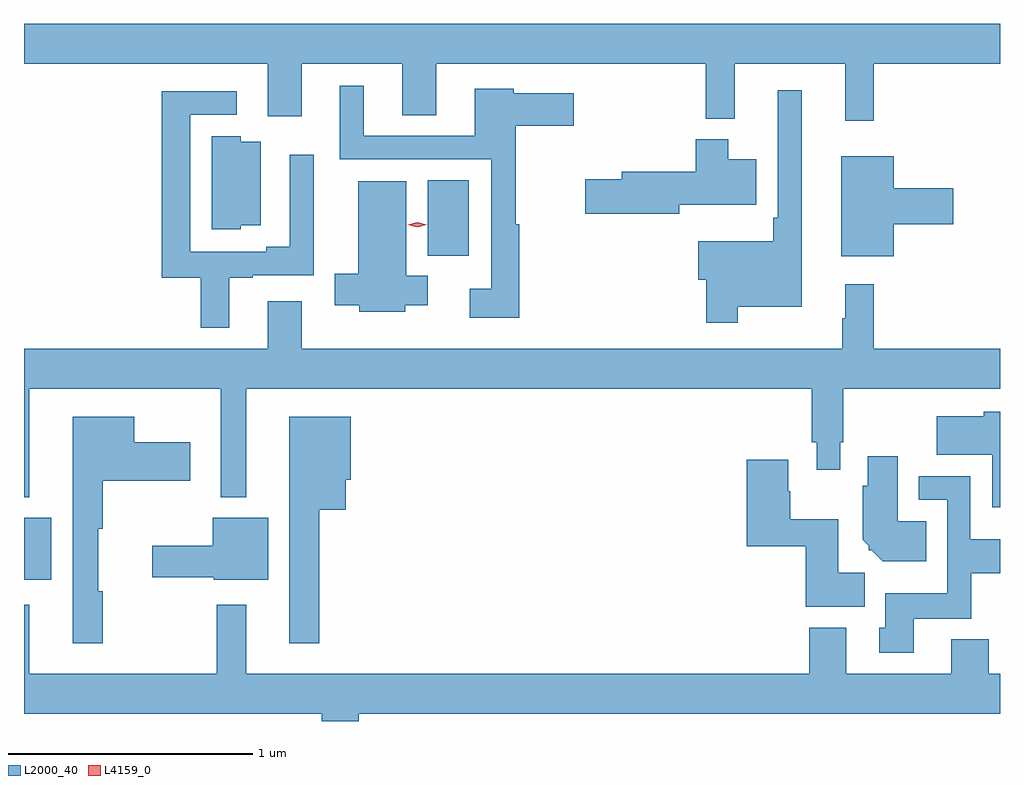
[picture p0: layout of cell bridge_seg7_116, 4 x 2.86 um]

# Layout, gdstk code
import gdstk
lib = gdstk.Library(unit=1e-6, precision=1e-09)
def R(c, l, rs):  # rectangles x0, y0, x1, y1
    for r in rs: c.add(gdstk.rectangle(r[:2], r[2:], *l))
def P(c, l, *ps):  # polygons
    for p in ps: c.add(gdstk.Polygon(p, *l))
L2000_40 = (2000, 40)
L4159_0 = (4159, 0)

bridge_seg7_116 = lib.new_cell('bridge_seg7_116')
R(bridge_seg7_116, L2000_40, [(875.877,1001.165,875.989,1001.419), (877.532,1002.493,877.699,1002.803)])
P(bridge_seg7_116, L2000_40, [(879.359,1003.28),(879.877,1003.28),(879.877,1003.444),(875.877,1003.444),(875.877,1003.28),(876.875,1003.28),(876.875,1003.065),(877.015,1003.065),(877.015,1003.28),(877.427,1003.28),(877.427,1003.069),(877.567,1003.069),(877.567,1003.28),(878.671,1003.28),(878.671,1003.055),(878.789,1003.055),(878.789,1003.28),(879.242,1003.28),(879.242,1003.047),(879.359,1003.047)],
  [(877.907,1002.623),(877.892,1002.623),(877.892,1003.025),(878.131,1003.025),(878.131,1003.159),(877.884,1003.159),(877.884,1003.177),(877.724,1003.177),(877.724,1002.984),(877.27,1002.984),(877.27,1003.189),(877.172,1003.189),(877.172,1002.888),(877.791,1002.888),(877.791,1002.358),(877.704,1002.358),(877.704,1002.239),(877.907,1002.239)],
  [(878.803,1002.284),(879.064,1002.284),(879.064,1003.171),(878.967,1003.171),(878.967,1002.649),(878.947,1002.649),(878.947,1002.553),(878.64,1002.553),(878.64,1002.395),(878.674,1002.395),(878.674,1002.219),(878.803,1002.219)],
  [(876.718,1002.402),(876.814,1002.402),(876.814,1002.414),(877.064,1002.414),(877.064,1002.907),(876.966,1002.907),(876.966,1002.53),(876.869,1002.53),(876.869,1002.51),(876.558,1002.51),(876.558,1003.071),(876.748,1003.071),(876.748,1003.167),(876.442,1003.167),(876.442,1002.402),(876.601,1002.402),(876.601,1002.197),(876.718,1002.197)],
  [(876.765,1002.617),(876.847,1002.617),(876.847,1002.961),(876.765,1002.961),(876.765,1002.982),(876.647,1002.982),(876.647,1002.602),(876.765,1002.602)],
  [(878.562,1002.701),(878.878,1002.701),(878.878,1002.889),(878.764,1002.889),(878.764,1002.97),(878.63,1002.97),(878.63,1002.837),(878.327,1002.837),(878.327,1002.807),(878.178,1002.807),(878.178,1002.665),(878.562,1002.665)],
  [(879.442,1002.623),(879.685,1002.623),(879.685,1002.77),(879.442,1002.77),(879.442,1002.901),(879.227,1002.901),(879.227,1002.491),(879.442,1002.491)],
  [(877.44,1002.29),(877.531,1002.29),(877.531,1002.412),(877.444,1002.412),(877.444,1002.799),(877.247,1002.799),(877.247,1002.42),(877.151,1002.42),(877.151,1002.29),(877.251,1002.29),(877.251,1002.263),(877.44,1002.263)],
  [(875.899,1001.948),(876.683,1001.948),(876.683,1001.504),(876.787,1001.504),(876.787,1001.948),(879.106,1001.948),(879.106,1001.728),(879.126,1001.728),(879.126,1001.616),(879.222,1001.616),(879.222,1001.728),(879.235,1001.728),(879.235,1001.948),(879.877,1001.948),(879.877,1002.112),(879.359,1002.112),(879.359,1002.376),(879.242,1002.376),(879.242,1002.236),(879.231,1002.236),(879.231,1002.112),(877.015,1002.112),(877.015,1002.307),(876.875,1002.307),(876.875,1002.112),(875.877,1002.112),(875.877,1001.504),(875.899,1001.504)],
  [(879.877,1001.854),(879.81,1001.854),(879.81,1001.836),(879.618,1001.836),(879.618,1001.678),(879.846,1001.678),(879.846,1001.462),(879.877,1001.462)],
  [(876.199,1001.117),(876.181,1001.117),(876.181,1001.374),(876.199,1001.374),(876.199,1001.57),(876.559,1001.57),(876.559,1001.728),(876.328,1001.728),(876.328,1001.833),(876.077,1001.833),(876.077,1000.905),(876.199,1000.905)],
  [(877.087,1001.453),(877.195,1001.453),(877.195,1001.574),(877.216,1001.574),(877.216,1001.833),(876.965,1001.833),(876.965,1000.905),(877.087,1000.905)],
  [(879.575,1001.404),(879.457,1001.404),(879.457,1001.671),(879.335,1001.671),(879.335,1001.55),(879.314,1001.55),(879.314,1001.329),(879.339,1001.304),(879.339,1001.286),(879.351,1001.286),(879.397,1001.24),(879.575,1001.24)],
  [(879.322,1001.193),(879.214,1001.193),(879.214,1001.413),(879.018,1001.413),(879.018,1001.528),(879.01,1001.528),(879.01,1001.656),(878.84,1001.656),(878.84,1001.303),(879.08,1001.303),(879.08,1001.054),(879.322,1001.054)],
  [(879.523,1001.006),(879.759,1001.006),(879.759,1001.192),(879.877,1001.192),(879.877,1001.332),(879.756,1001.332),(879.756,1001.589),(879.543,1001.589),(879.543,1001.493),(879.66,1001.493),(879.66,1001.11),(879.407,1001.11),(879.407,1000.968),(879.383,1000.968),(879.383,1000.866),(879.523,1000.866)],
  [(876.877,1001.419),(876.65,1001.419),(876.65,1001.305),(876.402,1001.305),(876.402,1001.176),(876.654,1001.176),(876.654,1001.165),(876.877,1001.165)],
  [(877.249,1000.616),(879.877,1000.616),(879.877,1000.78),(879.83,1000.78),(879.83,1000.921),(879.677,1000.921),(879.677,1000.78),(879.247,1000.78),(879.247,1000.969),(879.095,1000.969),(879.095,1000.78),(876.787,1000.78),(876.787,1001.062),(876.666,1001.062),(876.666,1000.78),(875.899,1000.78),(875.899,1001.062),(875.877,1001.062),(875.877,1000.616),(877.097,1000.616),(877.097,1000.585),(877.249,1000.585)])
P(bridge_seg7_116, L4159_0, [(877.488,1002.61),(877.449,1002.62),(877.449,1002.62),(877.449,1002.62),(877.488,1002.63),(877.528,1002.62),(877.528,1002.62),(877.528,1002.62)])

lib.write_gds('bridge_seg7_116.gds')
